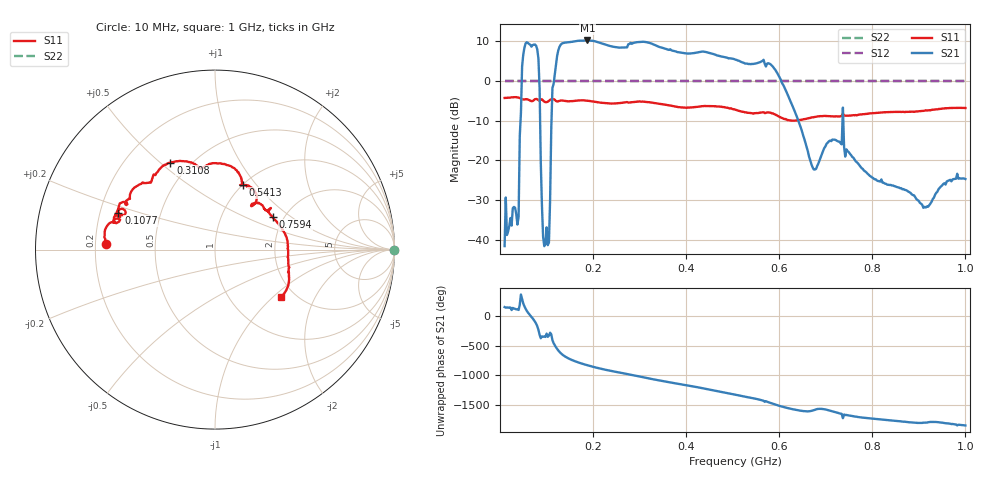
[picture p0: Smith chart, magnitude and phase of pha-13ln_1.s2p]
! Anritsu VNA Master:  Model: MS2024B
! SN:  2417009
! /card0/usr/pha-13ln_1.s2p
! Existing Calibration Information:
! TYPE:  Current Settings,  Active Cal Settings
! TIME:  09/29/2026 09:20:01 PM,  09/29/2026 09:12:52 PM
! INTERNAL TEMP:  48.0 C,  47.0 C
! # POINTS:  396,  396
! START FREQ:  10.000 MHz,  10.000 MHz
! STOP FREQ:  1.000 GHz,  1.000 GHz
! SOURCE POWER:  Default,  Default
! IFBW:  1 kHz,  1 kHz
! AVG FACTOR:  16 ,  16
! REF PLANE 1:  0 mm,  0 mm
! REF PLANE 2:  0 mm,  0 mm
! CAL TYPE:  1P2P S11,S21,  1P2P S11,S21
! CAL METHOD:  SOLT,  SOLT
! CAL LINE TYPE:  Coax,  Coax
! DUT PORT 1:  N-Conn(M),  N-Conn(M)
! DUT PORT 2:  N-Conn(M),  N-Conn(M)
! CAL STATUS:  OK: Accuracy High,  --
# GHZ S DB R 50.0
! FREQ.GHZ  S11DB  S11A  S21DB  S21A  S12DB  S12A  S22DB  S22A
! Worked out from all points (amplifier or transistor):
!   396 points, 10 MHz to 1 GHz, reference 50 ohm
!   highest |S21| = 10.1 dB at 187.9 MHz (marker M1)
!   |S21| within 3 dB of that: 124.4 MHz to 385.2 MHz (260.7 MHz wide, 102 % of centre)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
!   unconditionally stable (mu >= 1): nowhere
!   at 175.4 MHz: K = 1.99, MSG = 5.0 dB, |S12| = 0.0 dB
!   at 506.3 MHz: K = 0.58, MSG = 2.6 dB, |S12| = 0.0 dB
!   at 1 GHz: K = -0.40, MSG = -12.3 dB, |S12| = 0.0 dB
!   S11 on the Smith chart (normalised r, x): 10 MHz: 0.24, +0.02; 107.7 MHz: 0.28, +0.17; 310.8 MHz: 0.39, +0.54; 541.3 MHz: 1.00, +0.85; 759.4 MHz: 1.75, +0.74; 1 GHz: 1.69, -1.13
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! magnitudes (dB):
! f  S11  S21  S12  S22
! 10 MHz  -4.3  -41.5  0.0  0.0
! 12.51 MHz  -4.3  -29.3  0.0  0.0
! 40.08 MHz  -4.2  -34.2  0.0  0.0
! 47.59 MHz  -4.6  3.6  0.0  0.0
! 55.11 MHz  -4.6  9.4  0.0  0.0
! 82.68 MHz  -4.9  5.5  0.0  0.0
! 95.22 MHz  -5.2  -41.5  0.0  0.0
! 107.7 MHz  -4.8  -29.9  0.0  0.0
! 112.8 MHz  -4.6  -1.8  0.0  0.0
! 122.8 MHz  -5.2  6.2  0.0  0.0
! 175.4 MHz  -4.9  10.0  0.0  0.0
! 187.9 MHz  -5.0  10.1  0.0  0.0
! 310.8 MHz  -5.3  9.8  0.0  0.0
! 340.8 MHz  -5.7  8.6  0.0  0.0
! 506.3 MHz  -7.3  5.3  0.0  0.0
! 541.3 MHz  -8.2  4.2  0.0  0.0
! 671.7 MHz  -9.2  -21.7  0.0  0.0
! 736.8 MHz  -8.2  -6.7  0.0  0.0
! 741.8 MHz  -8.8  -19.0  0.0  0.0
! 759.4 MHz  -8.6  -19.3  0.0  0.0
! 837.1 MHz  -7.8  -26.2  0.0  0.0
! 1 GHz  -6.8  -24.7  0.0  0.0
